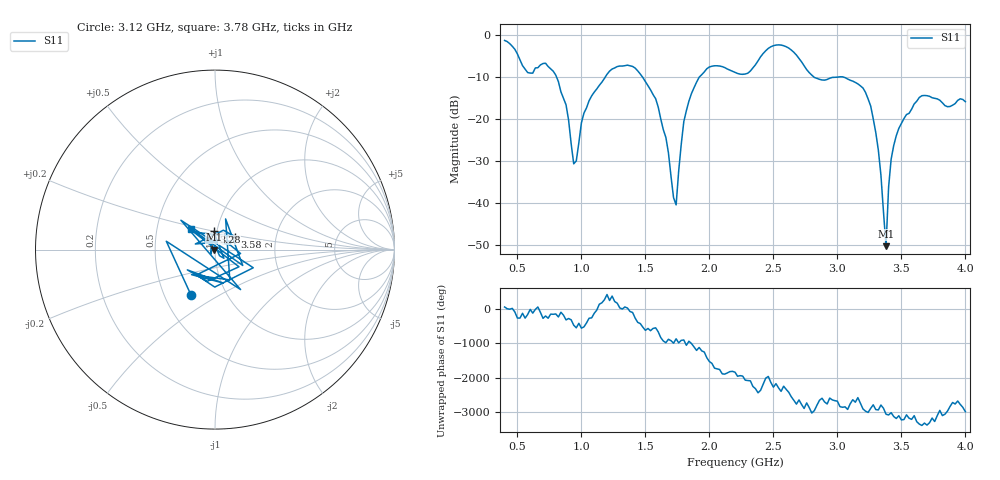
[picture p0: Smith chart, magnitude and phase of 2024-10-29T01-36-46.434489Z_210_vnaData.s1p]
!Created with skrf (http://scikit-rf.org).
# Hz S RI R 50.0
!freq ReS11 ImS11
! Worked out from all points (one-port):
!   181 points, 400 MHz to 4 GHz, reference 50 ohm
!   lowest |S11| = -50.3 dB at 3.38 GHz (marker M1), VSWR 1.01, Z = 49.7 - j0.00845 ohm
!   |S11| at or under -10 dB: 806.9 MHz to 1.185 GHz (378.1 MHz wide, 38 % of centre); 1.479 GHz to 1.919 GHz (440.1 MHz wide, 25.9 % of centre); 3.054 GHz to end of sweep (the widest 3 of 4)
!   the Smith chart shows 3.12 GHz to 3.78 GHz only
!   S11 on the Smith chart (normalised r, x): 3.12 GHz: 0.68, -0.37; 3.28 GHz: 0.96, +0.20; 3.58 GHz: 1.23, +0.18; 3.78 GHz: 0.75, +0.18
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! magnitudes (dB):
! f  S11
! 400 MHz  -1.2
! 580 MHz  -8.9
! 720 MHz  -6.6
! 860 MHz  -15.0
! 940 MHz  -30.6
! 1.06 GHz  -15.6
! 1.3 GHz  -7.3
! 1.58 GHz  -15.1
! 1.66 GHz  -24.3
! 1.74 GHz  -40.4
! 1.76 GHz  -32.4
! 1.8 GHz  -20.6
! 1.92 GHz  -10.0
! 2.2 GHz  -8.8
! 2.5 GHz  -2.4
! 2.66 GHz  -4.0
! 2.82 GHz  -10.0
! 3.1 GHz  -10.7
! 3.12 GHz  -10.9
! 3.28 GHz  -19.9
! 3.34 GHz  -33.3
! 3.38 GHz  -50.3
! 3.4 GHz  -36.2
! 3.42 GHz  -29.5
! 3.56 GHz  -18.6
! 3.58 GHz  -17.6
! 3.78 GHz  -15.1
! 4 GHz  -15.8
